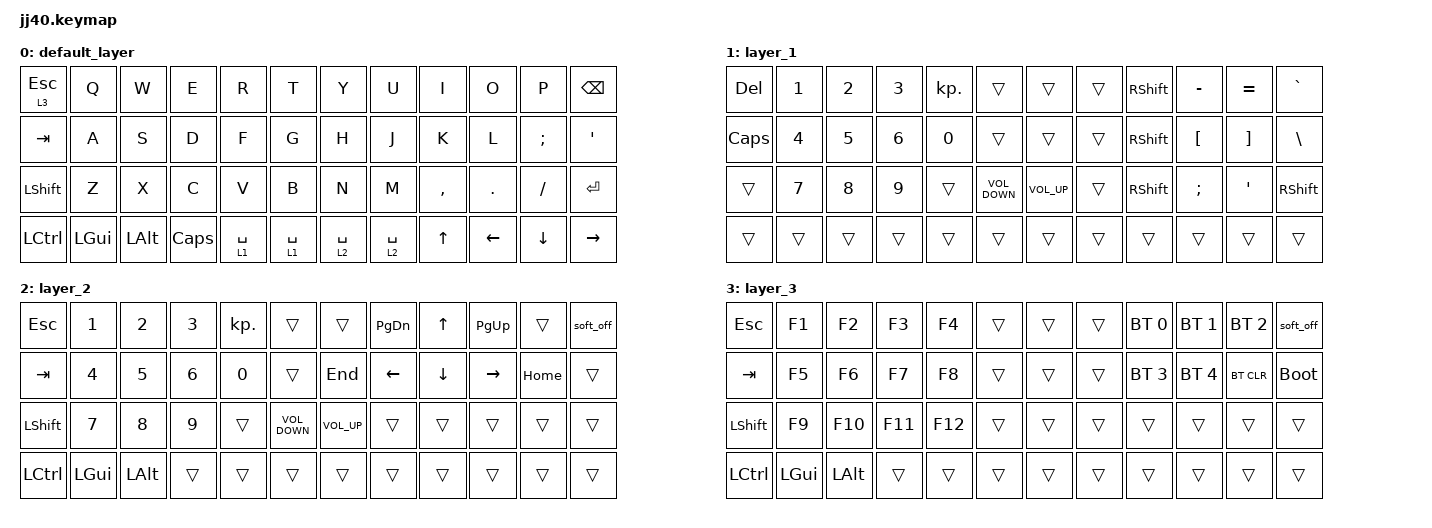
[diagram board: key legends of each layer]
#include <behaviors.dtsi>
#include <dt-bindings/zmk/bt.h>
#include <dt-bindings/zmk/keys.h>

/ {
    keymap {
        compatible = "zmk,keymap";

        default_layer {
            bindings = <
&lt 3 ESC  &kp Q     &kp W     &kp E     &kp R        &kp T        &kp Y        &kp U        &kp I      &kp O     &kp P     &kp BACKSPACE
&kp TAB    &kp A     &kp S     &kp D     &kp F        &kp G        &kp H        &kp J        &kp K      &kp L     &kp SEMI  &kp APOS
&kp LSHFT  &kp Z     &kp X     &kp C     &kp V        &kp B        &kp N        &kp M        &kp COMMA  &kp DOT   &kp FSLH  &kp ENTER
&kp LCTRL  &kp LGUI  &kp LALT  &kp CAPS  &lt 1 SPACE  &lt 1 SPACE  &lt 2 SPACE  &lt 2 SPACE  &kp UP     &kp LEFT  &kp DOWN  &kp RIGHT
            >;
        };

        layer_1 {
            bindings = <
&kp DEL   &kp N1  &kp N2  &kp N3  &kp KP_DOT  &trans             &trans           &trans  &kp RSHFT  &kp MINUS  &kp EQUAL  &kp GRAVE
&kp CAPS  &kp N4  &kp N5  &kp N6  &kp N0      &trans             &trans           &trans  &kp RSHFT  &kp LBKT   &kp RBKT   &kp BSLH
&trans    &kp N7  &kp N8  &kp N9  &trans      &kp C_VOLUME_DOWN  &kp C_VOLUME_UP  &trans  &kp RSHFT  &kp SEMI   &kp APOS   &kp RSHFT
&trans    &trans  &trans  &trans  &trans      &trans             &trans           &trans  &trans     &trans     &trans     &trans
            >;
        };

        layer_2 {
            bindings = <
&kp ESC    &kp N1    &kp N2    &kp N3  &kp KP_DOT  &trans             &trans           &kp PG_DN  &kp UP    &kp PG_UP  &trans    &soft_off
&kp TAB    &kp N4    &kp N5    &kp N6  &kp N0      &trans             &kp END          &kp LEFT   &kp DOWN  &kp RIGHT  &kp HOME  &trans
&kp LSHFT  &kp N7    &kp N8    &kp N9  &trans      &kp C_VOLUME_DOWN  &kp C_VOLUME_UP  &trans     &trans    &trans     &trans    &trans
&kp LCTRL  &kp LGUI  &kp LALT  &trans  &trans      &trans             &trans           &trans     &trans    &trans     &trans    &trans
            >;
        };

        layer_3 {
            bindings = <
&kp ESC    &kp F1    &kp F2    &kp F3   &kp F4   &trans  &trans  &trans  &bt BT_SEL 0  &bt BT_SEL 1  &bt BT_SEL 2  &soft_off
&kp TAB    &kp F5    &kp F6    &kp F7   &kp F8   &trans  &trans  &trans  &bt BT_SEL 3  &bt BT_SEL 4  &bt BT_CLR    &bootloader
&kp LSHFT  &kp F9    &kp F10   &kp F11  &kp F12  &trans  &trans  &trans  &trans        &trans        &trans        &trans
&kp LCTRL  &kp LGUI  &kp LALT  &trans   &trans   &trans  &trans  &trans  &trans        &trans        &trans        &trans
            >;
        };
    };
};
